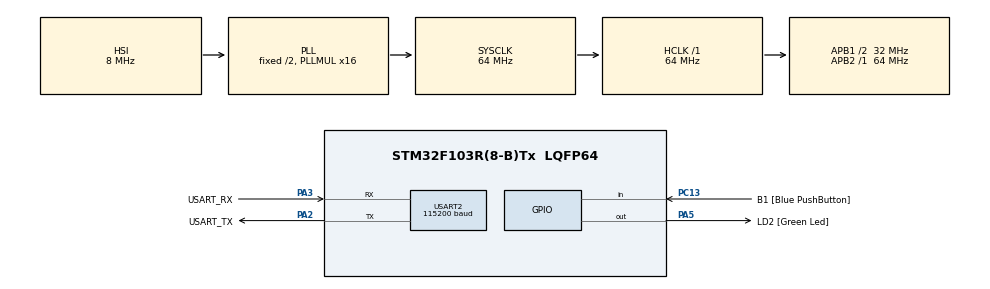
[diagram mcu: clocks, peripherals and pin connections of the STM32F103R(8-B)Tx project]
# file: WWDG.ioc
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Mcu.Family=STM32F1
Mcu.Name=STM32F103R(8-B)Tx
Mcu.Package=LQFP64
NVIC.PriorityGroup=NVIC_PRIORITYGROUP_4
NVIC.WWDG_IRQn=true\:0\:0\:false\:false\:true\:true\:true\:true
PA13.GPIO_Label=TMS
PA13.Mode=Serial_Wire
PA13.Signal=SYS_JTMS-SWDIO
PA14.GPIO_Label=TCK
PA14.Mode=Serial_Wire
PA14.Signal=SYS_JTCK-SWCLK
PA2.GPIO_Label=USART_TX
PA2.GPIO_Mode=GPIO_MODE_AF_PP
PA2.GPIO_PuPd=GPIO_NOPULL
PA2.GPIO_Speed=GPIO_SPEED_FREQ_LOW
PA2.Mode=Asynchronous
PA2.Signal=USART2_TX
PA3.GPIO_Label=USART_RX
PA3.GPIO_PuPd=GPIO_NOPULL
PA3.GPIO_Speed=GPIO_SPEED_FREQ_LOW
PA3.Mode=Asynchronous
PA3.Signal=USART2_RX
PA5.GPIO_Label=LD2 [Green Led]
PA5.GPIO_ModeDefaultOutputPP=GPIO_MODE_OUTPUT_PP
PA5.GPIO_PuPd=GPIO_NOPULL
PA5.GPIO_Speed=GPIO_SPEED_FREQ_LOW
PA5.Signal=GPIO_Output
PB3.GPIO_Label=SWO
PB3.Signal=SYS_JTDO-TRACESWO
PC13-TAMPER-RTC.GPIO_Label=B1 [Blue PushButton]
PC13-TAMPER-RTC.GPIO_PuPd=GPIO_NOPULL
PC13-TAMPER-RTC.Signal=GPIO_Input
PC14-OSC32_IN.Mode=LSE-External-Oscillator
PC14-OSC32_IN.Signal=RCC_OSC32_IN
PC15-OSC32_OUT.Mode=LSE-External-Oscillator
PC15-OSC32_OUT.Signal=RCC_OSC32_OUT
PD0-OSC_IN.Mode=HSE-External-Clock-Source
PD0-OSC_IN.Signal=RCC_OSC_IN
PD1-OSC_OUT.Mode=HSE-External-Clock-Source
PD1-OSC_OUT.Signal=RCC_OSC_OUT
ProjectManager.HeapSize=0x200
ProjectManager.StackSize=0x400
ProjectManager.TargetToolchain=STM32CubeIDE
RCC.AHBFreq_Value=64000000
RCC.APB1CLKDivider=RCC_HCLK_DIV2
RCC.APB1Freq_Value=32000000
RCC.APB1TimFreq_Value=64000000
RCC.APB2Freq_Value=64000000
RCC.APB2TimFreq_Value=64000000
RCC.HCLKFreq_Value=64000000
RCC.PLLMUL=RCC_PLL_MUL16
RCC.RTCClockSelection=RCC_RTCCLKSOURCE_LSE
RCC.SYSCLKFreq_VALUE=64000000
RCC.SYSCLKSource=RCC_SYSCLKSOURCE_PLLCLK
RCC.USBFreq_Value=64000000
USART2.BaudRate=115200
USART2.VirtualMode=VM_ASYNC
VP_WWDG_VS_WWDG.Mode=WWDG_Activate
WWDG.Counter=127
WWDG.EWIMode=WWDG_EWI_ENABLE
WWDG.Prescaler=WWDG_PRESCALER_8
WWDG.Window=80
board=NUCLEO-F103RB

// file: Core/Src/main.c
/* USER CODE BEGIN Header */
/**
 ******************************************************************************
 * @file           : main.c
 * @brief          : Main program body
 ******************************************************************************
 * @attention
 *
 * Copyright (c) 2026 STMicroelectronics.
 * All rights reserved.
 *
 * This software is licensed under terms that can be found in the LICENSE file
 * in the root directory of this software component.
 * If no LICENSE file comes with this software, it is provided AS-IS.
 *
 ******************************************************************************
 */
/**
 * 02_WWDG_c  —  [계층: HAL]  윈도우 워치독(WWDG) — "너무 늦게"뿐 아니라 "너무 빨리" 리프레시해도 리셋
 *
 * IWDG 와의 차이 (01_WatchdogTimer 는 이름과 달리 WWDG 기본 사용 예제)
 *   IWDG : 독립 저속 클럭(LSI 40kHz), 타임아웃 전에만 리프레시하면 됨(늦는 것만 감시).
 *   WWDG : APB1 클럭 기반 7비트 다운카운터(T[6:0]). 카운터가 "윈도우 값 이하"일 때만 리프레시 허용.
 *          윈도우 밖(너무 이름) 리프레시, 0x3F 이하로 내려감(너무 늦음) 모두 시스템 리셋.
 *          -> 프로그램이 "정해진 타이밍에" 실행되는지까지 감시한다.
 *
 * 타이밍 계산 (PCLK1 = 32MHz)
 *   t_tick = 4096 x prescaler(8) / 32MHz = 1.024 ms
 *   카운터 시작 0x7F, 윈도우 0x50, 리셋 임계 0x3F
 *     리프레시 허용 구간 : 카운터 <= 0x50  ->  (0x7F-0x50) x 1.024 = 약 48 ms 이후 ~
 *     리셋(타임아웃)     : 카운터 < 0x40   ->  (0x7F-0x3F) x 1.024 = 약 65.5 ms
 *   => 리프레시는 약 48ms ~ 65ms 사이에만 해야 한다. 이 예제는 55ms 마다 리프레시.
 *
 * 하드웨어 대응
 *   WWDG->CR : WDGA(bit7)=1 활성화(한 번 켜면 끌 수 없음), T[6:0] 카운터
 *   WWDG->CFR: W[6:0] 윈도우, WDGTB[8:7] 프리스케일러, EWI(bit9) 조기 경고 인터럽트
 *   WWDG->SR : EWIF(bit0)
 *   RCC->CSR : WWDGRSTF(bit30) 리셋 원인 플래그, RMVF(bit24) 플래그 지우기
 *
 * 시험 방법
 *   - 기본: 55ms 주기 리프레시로 LD2 가 정상 점멸.
 *   - B1(PC13) 누름: 프로그램 "멈춤" 흉내(리프레시 중단) -> 약 65ms 뒤 리셋 -> 부팅 메시지에 WWDG 리셋 표시
 *   - EARLY_REFRESH_TEST 를 1 로 바꾸면 20ms 주기(너무 이름)로 리프레시 -> 계속 리셋되는 것을 확인
 *
 * ISR vs 콜백
 *   WWDG_IRQHandler (stm32f1xx_it.c, 진짜 ISR) -> HAL_WWDG_IRQHandler()
 *     -> HAL_WWDG_EarlyWakeupCallback() (이 파일) : 카운터가 0x40 이 되는 순간, 리셋 직전 "마지막 기회"
 */
/* USER CODE END Header */
#include "main.h"

/* USER CODE BEGIN Includes */
#include <stdio.h>
#include <string.h>
/* USER CODE END Includes */

/* USER CODE BEGIN PD */
#define EARLY_REFRESH_TEST 0     /* 1: 윈도우 밖(너무 이른) 리프레시 시험 */

/* USER CODE END PD */

UART_HandleTypeDef huart2;

WWDG_HandleTypeDef hwwdg;

/* USER CODE BEGIN PV */
static volatile uint32_t ewi_count;   /* 조기 경고가 발생한 횟수 (리셋 직전이므로 보통 1 이후 리셋) */
/* USER CODE END PV */

void SystemClock_Config(void);
static void MX_GPIO_Init(void);
static void MX_USART2_UART_Init(void);
static void MX_WWDG_Init(void);

int main(void)
{

  /* USER CODE BEGIN 1 */
  char msg[80];
  /* USER CODE END 1 */

  /* MCU Configuration--------------------------------------------------------*/

  /* Reset of all peripherals, Initializes the Flash interface and the Systick. */
  HAL_Init();

  /* USER CODE BEGIN Init */
  __HAL_DBGMCU_FREEZE_WWDG();                          /* DBGMCU->CR.DBG_WWDG_STOP = 1: 디버거 중단점에서 카운터 정지 */
  /* USER CODE END Init */

  /* Configure the system clock */
  SystemClock_Config();

  /* Initialize all configured peripherals */
  MX_GPIO_Init();
  MX_USART2_UART_Init();
  MX_WWDG_Init();
  /* USER CODE BEGIN 2 */
  /* 리셋 원인 확인 (RCC->CSR).
   * CubeMX 구조에서는 MX_WWDG_Init() 가 USER CODE 2 보다 먼저 호출되어 워치독은 이미 동작 중이다.
   * 아래 출력은 수 ms 이내라 윈도우(약 48ms) 이전이고, 첫 리프레시는 while 루프의 HAL_Delay(55) 뒤에 일어난다. */
  const char *cause = __HAL_RCC_GET_FLAG(RCC_FLAG_WWDGRST) ? "WWDG (window watchdog)"
                    : __HAL_RCC_GET_FLAG(RCC_FLAG_PORRST)  ? "POWER-ON"
                    : "other (pin/software/IWDG)";
  int n = snprintf(msg, sizeof msg, "\r\n[boot] reset cause: %s\r\n", cause);
  HAL_UART_Transmit(&huart2, (uint8_t *)msg, (uint16_t)n, 100);
  __HAL_RCC_CLEAR_RESET_FLAGS();                       /* CSR.RMVF = 1 */
  /* USER CODE END 2 */

  /* Infinite loop */
  while (1)
  {

    /* USER CODE BEGIN 3 */
#if EARLY_REFRESH_TEST
    HAL_Delay(20);                                   /* 윈도우(약 48ms) 이전 -> 리프레시 즉시 리셋 */
#else
    HAL_Delay(55);                                   /* 48ms < 55ms < 65ms : 허용 구간 */
#endif
    if (HAL_GPIO_ReadPin(B1_GPIO_Port, B1_Pin) == GPIO_PIN_RESET)   /* GPIOC->IDR bit13 (B1: 누르면 Low) */
    {
      while (1) {}                                   /* 프로그램 멈춤 흉내: 리프레시 없이 대기 -> WWDG 리셋 */
    }

    if (HAL_WWDG_Refresh(&hwwdg) != HAL_OK) Error_Handler();   /* WWDG->CR.T = 0x7F */
    HAL_GPIO_TogglePin(LD2_GPIO_Port, LD2_Pin);      /* 55ms 마다 토글: 육안으로는 빠른 점멸 (GPIOA->ODR bit5) */
  }
  /* USER CODE END 3 */
}

void SystemClock_Config(void)
{
  RCC_OscInitTypeDef RCC_OscInitStruct = {0};
  RCC_ClkInitTypeDef RCC_ClkInitStruct = {0};

  /** Initializes the RCC Oscillators according to the specified parameters
  * in the RCC_OscInitTypeDef structure.
  */
  RCC_OscInitStruct.OscillatorType = RCC_OSCILLATORTYPE_HSI;
  RCC_OscInitStruct.HSIState = RCC_HSI_ON;
  RCC_OscInitStruct.HSICalibrationValue = RCC_HSICALIBRATION_DEFAULT;
  RCC_OscInitStruct.PLL.PLLState = RCC_PLL_ON;
  RCC_OscInitStruct.PLL.PLLSource = RCC_PLLSOURCE_HSI_DIV2;
  RCC_OscInitStruct.PLL.PLLMUL = RCC_PLL_MUL16;
  if (HAL_RCC_OscConfig(&RCC_OscInitStruct) != HAL_OK)
  {
    Error_Handler();
  }

  /** Initializes the CPU, AHB and APB buses clocks
  */
  RCC_ClkInitStruct.ClockType = RCC_CLOCKTYPE_HCLK|RCC_CLOCKTYPE_SYSCLK
                              |RCC_CLOCKTYPE_PCLK1|RCC_CLOCKTYPE_PCLK2;
  RCC_ClkInitStruct.SYSCLKSource = RCC_SYSCLKSOURCE_PLLCLK;
  RCC_ClkInitStruct.AHBCLKDivider = RCC_SYSCLK_DIV1;
  RCC_ClkInitStruct.APB1CLKDivider = RCC_HCLK_DIV2;
  RCC_ClkInitStruct.APB2CLKDivider = RCC_HCLK_DIV1;

  if (HAL_RCC_ClockConfig(&RCC_ClkInitStruct, FLASH_LATENCY_2) != HAL_OK)
  {
    Error_Handler();
  }
}

static void MX_USART2_UART_Init(void)
{

  huart2.Instance = USART2;
  huart2.Init.BaudRate = 115200;
  huart2.Init.WordLength = UART_WORDLENGTH_8B;
  huart2.Init.StopBits = UART_STOPBITS_1;
  huart2.Init.Parity = UART_PARITY_NONE;
  huart2.Init.Mode = UART_MODE_TX_RX;
  huart2.Init.HwFlowCtl = UART_HWCONTROL_NONE;
  huart2.Init.OverSampling = UART_OVERSAMPLING_16;
  if (HAL_UART_Init(&huart2) != HAL_OK)
  {
    Error_Handler();
  }
  /* USER CODE BEGIN USART2_Init 2 */
  /* USART2 (ST-Link 가상 COM, PA2=TX / PA3=RX) 기본 폴링 송신용. 클럭/핀 설정은 stm32f1xx_hal_msp.c 의 HAL_UART_MspInit 에 있다. */
  /* USER CODE END USART2_Init 2 */

}

static void MX_WWDG_Init(void)
{

  hwwdg.Instance = WWDG;
  hwwdg.Init.Prescaler = WWDG_PRESCALER_8;
  hwwdg.Init.Window = 80;
  hwwdg.Init.Counter = 127;
  hwwdg.Init.EWIMode = WWDG_EWI_ENABLE;
  if (HAL_WWDG_Init(&hwwdg) != HAL_OK)
  {
    Error_Handler();
  }
  /* USER CODE BEGIN WWDG_Init 2 */
  /* [레지스터] Prescaler 8 -> WWDG->CFR.WDGTB = 11, Window 0x50 -> CFR.W, Counter 0x7F -> CR.T,
   * EWI -> CFR.EWI(bit9) = 1, HAL_WWDG_Init 가 CR.WDGA(bit7) = 1 로 활성화 (한 번 켜면 끌 수 없음) */
  /* USER CODE END WWDG_Init 2 */

}

static void MX_GPIO_Init(void)
{
  GPIO_InitTypeDef GPIO_InitStruct = {0};

  /* GPIO Ports Clock Enable */
  __HAL_RCC_GPIOC_CLK_ENABLE();
  __HAL_RCC_GPIOD_CLK_ENABLE();
  __HAL_RCC_GPIOA_CLK_ENABLE();
  __HAL_RCC_GPIOB_CLK_ENABLE();

  /*Configure GPIO pin Output Level */
  HAL_GPIO_WritePin(LD2_GPIO_Port, LD2_Pin, GPIO_PIN_RESET);

  /*Configure GPIO pin : B1_Pin */
  GPIO_InitStruct.Pin = B1_Pin;
  GPIO_InitStruct.Mode = GPIO_MODE_INPUT;
  GPIO_InitStruct.Pull = GPIO_NOPULL;
  HAL_GPIO_Init(B1_GPIO_Port, &GPIO_InitStruct);

  /*Configure GPIO pin : LD2_Pin */
  GPIO_InitStruct.Pin = LD2_Pin;
  GPIO_InitStruct.Mode = GPIO_MODE_OUTPUT_PP;
  GPIO_InitStruct.Pull = GPIO_NOPULL;
  GPIO_InitStruct.Speed = GPIO_SPEED_FREQ_LOW;
  HAL_GPIO_Init(LD2_GPIO_Port, &GPIO_InitStruct);

}

/* USER CODE BEGIN 4 */
/* ------------------------------------------------------------------------- */
/* HAL 콜백 (ISR 아님, HAL_WWDG_IRQHandler 가 호출)                            */
/* ------------------------------------------------------------------------- */
void HAL_WWDG_EarlyWakeupCallback(WWDG_HandleTypeDef *hwwdg_)
{
  (void)hwwdg_;
  ewi_count++;
  HAL_GPIO_WritePin(LD2_GPIO_Port, LD2_Pin, GPIO_PIN_SET);  /* 리셋 직전 LED 를 켜 두어 "마지막 기회"가 실행됐음을 표시 */
  /* 여기서 리프레시하면 리셋을 막을 수 있으나, 그러면 워치독의 의미가 없어진다.
     실제 제품에서는 중요한 상태를 백업 레지스터/플래시에 저장하는 용도로 쓴다 (약 1ms 남음). */
}
/* USER CODE END 4 */

void Error_Handler(void)
{
  __disable_irq();
  while (1) {
  }
}
#ifdef USE_FULL_ASSERT
/**
  * @brief  Reports the name of the source file and the source line number
  *         where the assert_param error has occurred.
  * @param  file: pointer to the source file name
  * @param  line: assert_param error line source number
  * @retval None
  */
void assert_failed(uint8_t *file, uint32_t line)
{
  /* USER CODE BEGIN 6 */
  /* User can add his own implementation to report the file name and line
     number, ex: printf("Wrong parameters value: file %s on line %d\r\n", file,
     line) */
  /* USER CODE END 6 */
}
#endif /* USE_FULL_ASSERT */
